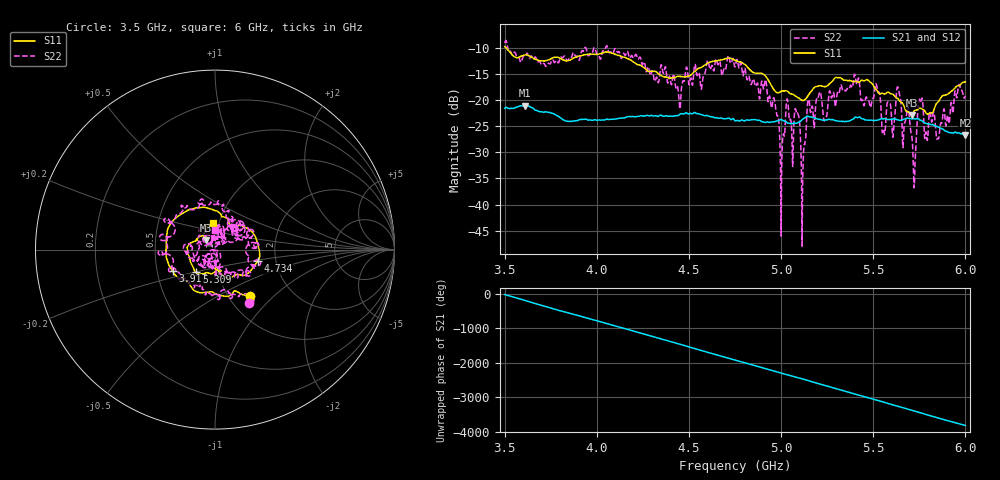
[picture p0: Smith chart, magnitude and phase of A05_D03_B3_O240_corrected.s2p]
! Created with skrf 1.9.0 (http://scikit-rf.org).
# Hz S RI R 50.0
!freq ReS11 ImS11 ReS21 ImS21 ReS12 ImS12 ReS22 ImS22
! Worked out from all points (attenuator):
!   1601 points, 3.5 GHz to 6 GHz, reference 50 ohm
!   highest |S21| = -21.09 dB at 3.611 GHz (marker M1); lowest = -26.7 dB at 6 GHz (marker M2)
!   lowest |S11| = -22.8 dB at 5.708 GHz (marker M3), VSWR 1.16, Z = 45 + j4.71 ohm
!   |S11| at or under -10 dB: 3.507 GHz to end of sweep
!   |S22| runs from -47.9 to -8.6 dB; largest |S21 - S12| = 0.001
!   S11 on the Smith chart (normalised r, x): 3.5 GHz: 1.26, -0.72; 3.917 GHz: 0.60, -0.16; 4.734 GHz: 1.61, -0.22; 5.309 GHz: 0.79, -0.21; 6 GHz: 0.94, +0.29
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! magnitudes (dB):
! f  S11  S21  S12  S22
! 3.5 GHz  -9.8  -21.6  -21.6  -9.1
! 3.611 GHz  -11.4  -21.1  -21.1  -11.7
! 3.917 GHz  -11.5  -23.7  -23.7  -10.7
! 4.334 GHz  -15.0  -23.1  -23.1  -16.7
! 4.734 GHz  -12.2  -23.7  -23.7  -12.5
! 4.75 GHz  -12.4  -24.0  -23.9  -13.7
! 4.911 GHz  -15.3  -24.3  -24.2  -16.8
! 5.005 GHz  -18.2  -23.8  -23.8  -30.8
! 5.033 GHz  -18.3  -24.4  -24.3  -19.8
! 5.084 GHz  -19.4  -24.4  -24.4  -22.5
! 5.12 GHz  -20.1  -23.6  -23.5  -31.3
! 5.145 GHz  -19.2  -23.1  -23.1  -20.2
! 5.167 GHz  -18.2  -23.3  -23.3  -21.2
! 5.309 GHz  -15.7  -24.1  -24.0  -18.7
! 5.556 GHz  -18.8  -23.6  -23.6  -25.5
! 5.584 GHz  -18.6  -23.7  -23.7  -20.5
! 5.638 GHz  -19.9  -23.8  -23.8  -18.1
! 5.708 GHz  -22.8  -23.6  -23.6  -26.6
! 5.725 GHz  -22.0  -23.6  -23.5  -34.2
! 5.756 GHz  -21.6  -23.9  -23.8  -20.5
! 5.85 GHz  -20.4  -25.2  -25.1  -27.3
! 6 GHz  -16.5  -26.7  -26.6  -19.2
